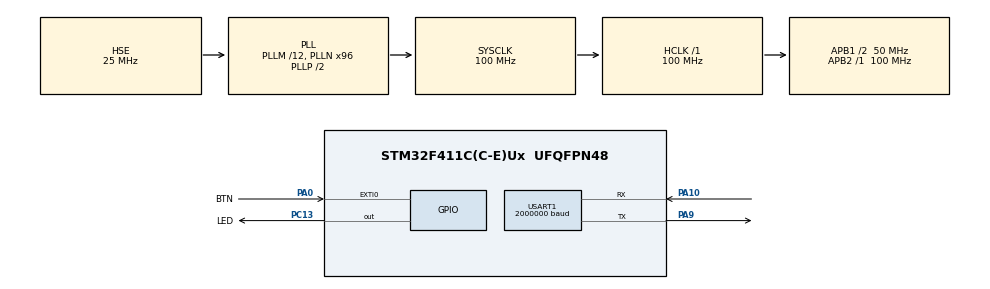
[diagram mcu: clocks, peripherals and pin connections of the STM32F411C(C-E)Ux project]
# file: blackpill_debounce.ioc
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Mcu.Family=STM32F4
Mcu.Name=STM32F411C(C-E)Ux
Mcu.Package=UFQFPN48
Mcu.UserConstants=DEBOUNCE_COUNT,10000
NVIC.EXTI0_IRQn=true\:0\:0\:false\:false\:true\:true\:true\:true
NVIC.PriorityGroup=NVIC_PRIORITYGROUP_4
NVIC.TIM1_TRG_COM_TIM11_IRQn=true\:0\:0\:false\:false\:true\:true\:true\:true
PA0-WKUP.GPIO_Label=BTN
PA0-WKUP.GPIO_ModeDefaultEXTI=GPIO_MODE_IT_RISING_FALLING
PA0-WKUP.GPIO_PuPd=GPIO_PULLUP
PA0-WKUP.Signal=GPXTI0
PA10.Mode=Asynchronous
PA10.Signal=USART1_RX
PA13.Mode=Serial_Wire
PA13.Signal=SYS_JTMS-SWDIO
PA14.Mode=Serial_Wire
PA14.Signal=SYS_JTCK-SWCLK
PA9.Mode=Asynchronous
PA9.Signal=USART1_TX
PC13-ANTI_TAMP.GPIO_Label=LED
PC13-ANTI_TAMP.GPIO_ModeDefaultOutputPP=GPIO_MODE_OUTPUT_OD
PC13-ANTI_TAMP.GPIO_PuPd=GPIO_NOPULL
PC13-ANTI_TAMP.PinState=GPIO_PIN_SET
PC13-ANTI_TAMP.Signal=GPIO_Output
PH0\ -\ OSC_IN.Mode=HSE-External-Oscillator
PH0\ -\ OSC_IN.Signal=RCC_OSC_IN
PH1\ -\ OSC_OUT.Mode=HSE-External-Oscillator
PH1\ -\ OSC_OUT.Signal=RCC_OSC_OUT
ProjectManager.HeapSize=0x200
ProjectManager.StackSize=0x400
ProjectManager.TargetToolchain=STM32CubeIDE
RCC.48MHZClocksFreq_Value=50000000
RCC.AHBFreq_Value=100000000
RCC.APB1CLKDivider=RCC_HCLK_DIV2
RCC.APB1Freq_Value=50000000
RCC.APB1TimFreq_Value=100000000
RCC.APB2Freq_Value=100000000
RCC.APB2TimFreq_Value=100000000
RCC.CortexFreq_Value=100000000
RCC.HCLKFreq_Value=100000000
RCC.HSE_VALUE=25000000
RCC.HSI_VALUE=16000000
RCC.LSE_VALUE=32768
RCC.PLLM=12
RCC.PLLN=96
RCC.PLLSourceVirtual=RCC_PLLSOURCE_HSE
RCC.SYSCLKFreq_VALUE=100000000
RCC.SYSCLKSource=RCC_SYSCLKSOURCE_PLLCLK
RCC.VCOOutputFreq_Value=200000000
TIM11.Period=DEBOUNCE_COUNT - 1
TIM11.Prescaler=100 - 1
USART1.BaudRate=2000000
USART1.VirtualMode=VM_ASYNC
VP_TIM11_VS_ClockSourceINT.Mode=Enable_Timer
board=custom

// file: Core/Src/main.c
/* USER CODE BEGIN Header */
/**
 ******************************************************************************
 * @file           : main.c
 * @brief          : Main program body
 ******************************************************************************
 * @attention
 *
 * Copyright (c) 2024 Lars Boegild Thomsen <lth@stm32world.com>
 * All rights reserved.
 *
 * This software is licensed under terms that can be found in the LICENSE file
 * in the root directory of this software component.
 * If no LICENSE file comes with this software, it is provided AS-IS.
 *
 ******************************************************************************
 */
/* USER CODE END Header */
#include "main.h"

/* USER CODE BEGIN Includes */
#include <stdio.h>
/* USER CODE END Includes */

TIM_HandleTypeDef htim11;

UART_HandleTypeDef huart1;

/* USER CODE BEGIN PV */

uint8_t btn_state = 0, new_btn_state = 0;

/* USER CODE END PV */

void SystemClock_Config(void);
static void MX_GPIO_Init(void);
static void MX_USART1_UART_Init(void);
static void MX_TIM11_Init(void);

/* USER CODE BEGIN 0 */

// Send printf to uart1
int _write(int fd, char *ptr, int len) {
    HAL_StatusTypeDef hstatus;

    if (fd == 1 || fd == 2) {
        hstatus = HAL_UART_Transmit(&huart1, (uint8_t*) ptr, len, HAL_MAX_DELAY);
        if (hstatus == HAL_OK)
            return len;
        else
            return -1;
    }
    return -1;
}

void HAL_TIM_PeriodElapsedCallback(TIM_HandleTypeDef *htim) {
    if (htim->Instance == TIM11) {
        printf("Got int\n");
        HAL_TIM_Base_Stop_IT(htim);
        __HAL_TIM_SET_COUNTER(&htim11, 0);
        btn_state = new_btn_state;
    }
}

void HAL_GPIO_EXTI_Callback(uint16_t GPIO_Pin) {
    if (GPIO_Pin == BTN_Pin) {

        __HAL_TIM_SET_COUNTER(&htim11, 0);
        HAL_TIM_Base_Start_IT(&htim11);

        printf("BTN ");
        GPIO_PinState pin_state = HAL_GPIO_ReadPin(BTN_GPIO_Port, BTN_Pin);

        if (pin_state == GPIO_PIN_RESET) {
            printf("pressed\n");
            new_btn_state = 1;
        } else {
            printf("released\n");
            new_btn_state = 0;
        }

    }
}

/* USER CODE END 0 */

int main(void)
{

    /* MCU Configuration--------------------------------------------------------*/

    /* Reset of all peripherals, Initializes the Flash interface and the Systick. */
    HAL_Init();

    /* Configure the system clock */
    SystemClock_Config();

    /* Initialize all configured peripherals */
    MX_GPIO_Init();
    MX_USART1_UART_Init();
    MX_TIM11_Init();
    /* USER CODE BEGIN 2 */

    printf("\n\n\n---------------------------\nStarting blackpill_debounce\n");

    /* USER CODE END 2 */

    /* Infinite loop */
    /* USER CODE BEGIN WHILE */

    uint32_t now = 0, next_blink = 500, next_tick = 1000, loop_cnt = 0;

    while (1) {

        now = uwTick;

        //if (now - last_blink >= blink_delays[blink_delay]) {
        if (now >= next_blink) {
            HAL_GPIO_TogglePin(LED_GPIO_Port, LED_Pin);

            next_blink = now + 500;
        }

        if (now >= next_tick) {

            printf("Tick %lu (loop count = %lu btn_state = %d)\n", now / 1000, loop_cnt, btn_state);

            loop_cnt = 0;
            next_tick = now + 1000;

        }

        ++loop_cnt;

        /* USER CODE END WHILE */

    }
}

void SystemClock_Config(void)
{
    RCC_OscInitTypeDef RCC_OscInitStruct = { 0 };
    RCC_ClkInitTypeDef RCC_ClkInitStruct = { 0 };

    /** Configure the main internal regulator output voltage
     */
    __HAL_RCC_PWR_CLK_ENABLE();
    __HAL_PWR_VOLTAGESCALING_CONFIG(PWR_REGULATOR_VOLTAGE_SCALE1);

    /** Initializes the RCC Oscillators according to the specified parameters
     * in the RCC_OscInitTypeDef structure.
     */
    RCC_OscInitStruct.OscillatorType = RCC_OSCILLATORTYPE_HSE;
    RCC_OscInitStruct.HSEState = RCC_HSE_ON;
    RCC_OscInitStruct.PLL.PLLState = RCC_PLL_ON;
    RCC_OscInitStruct.PLL.PLLSource = RCC_PLLSOURCE_HSE;
    RCC_OscInitStruct.PLL.PLLM = 12;
    RCC_OscInitStruct.PLL.PLLN = 96;
    RCC_OscInitStruct.PLL.PLLP = RCC_PLLP_DIV2;
    RCC_OscInitStruct.PLL.PLLQ = 4;
    if (HAL_RCC_OscConfig(&RCC_OscInitStruct) != HAL_OK)
            {
        Error_Handler();
    }

    /** Initializes the CPU, AHB and APB buses clocks
     */
    RCC_ClkInitStruct.ClockType = RCC_CLOCKTYPE_HCLK | RCC_CLOCKTYPE_SYSCLK
            | RCC_CLOCKTYPE_PCLK1 | RCC_CLOCKTYPE_PCLK2;
    RCC_ClkInitStruct.SYSCLKSource = RCC_SYSCLKSOURCE_PLLCLK;
    RCC_ClkInitStruct.AHBCLKDivider = RCC_SYSCLK_DIV1;
    RCC_ClkInitStruct.APB1CLKDivider = RCC_HCLK_DIV2;
    RCC_ClkInitStruct.APB2CLKDivider = RCC_HCLK_DIV1;

    if (HAL_RCC_ClockConfig(&RCC_ClkInitStruct, FLASH_LATENCY_3) != HAL_OK)
            {
        Error_Handler();
    }
}

static void MX_TIM11_Init(void)
{

    htim11.Instance = TIM11;
    htim11.Init.Prescaler = 100 - 1;
    htim11.Init.CounterMode = TIM_COUNTERMODE_UP;
    htim11.Init.Period = DEBOUNCE_COUNT - 1;
    htim11.Init.ClockDivision = TIM_CLOCKDIVISION_DIV1;
    htim11.Init.AutoReloadPreload = TIM_AUTORELOAD_PRELOAD_DISABLE;
    if (HAL_TIM_Base_Init(&htim11) != HAL_OK)
            {
        Error_Handler();
    }

}

static void MX_USART1_UART_Init(void)
{

    huart1.Instance = USART1;
    huart1.Init.BaudRate = 2000000;
    huart1.Init.WordLength = UART_WORDLENGTH_8B;
    huart1.Init.StopBits = UART_STOPBITS_1;
    huart1.Init.Parity = UART_PARITY_NONE;
    huart1.Init.Mode = UART_MODE_TX_RX;
    huart1.Init.HwFlowCtl = UART_HWCONTROL_NONE;
    huart1.Init.OverSampling = UART_OVERSAMPLING_16;
    if (HAL_UART_Init(&huart1) != HAL_OK)
            {
        Error_Handler();
    }

}

static void MX_GPIO_Init(void)
{
    GPIO_InitTypeDef GPIO_InitStruct = { 0 };

    /* GPIO Ports Clock Enable */
    __HAL_RCC_GPIOC_CLK_ENABLE();
    __HAL_RCC_GPIOH_CLK_ENABLE();
    __HAL_RCC_GPIOA_CLK_ENABLE();

    /*Configure GPIO pin Output Level */
    HAL_GPIO_WritePin(LED_GPIO_Port, LED_Pin, GPIO_PIN_SET);

    /*Configure GPIO pin : LED_Pin */
    GPIO_InitStruct.Pin = LED_Pin;
    GPIO_InitStruct.Mode = GPIO_MODE_OUTPUT_OD;
    GPIO_InitStruct.Pull = GPIO_NOPULL;
    GPIO_InitStruct.Speed = GPIO_SPEED_FREQ_LOW;
    HAL_GPIO_Init(LED_GPIO_Port, &GPIO_InitStruct);

    /*Configure GPIO pin : BTN_Pin */
    GPIO_InitStruct.Pin = BTN_Pin;
    GPIO_InitStruct.Mode = GPIO_MODE_IT_RISING_FALLING;
    GPIO_InitStruct.Pull = GPIO_PULLUP;
    HAL_GPIO_Init(BTN_GPIO_Port, &GPIO_InitStruct);

    /* EXTI interrupt init*/
    HAL_NVIC_SetPriority(EXTI0_IRQn, 0, 0);
    HAL_NVIC_EnableIRQ(EXTI0_IRQn);

}

void Error_Handler(void)
{
    __disable_irq();
    while (1) {
    }
}
